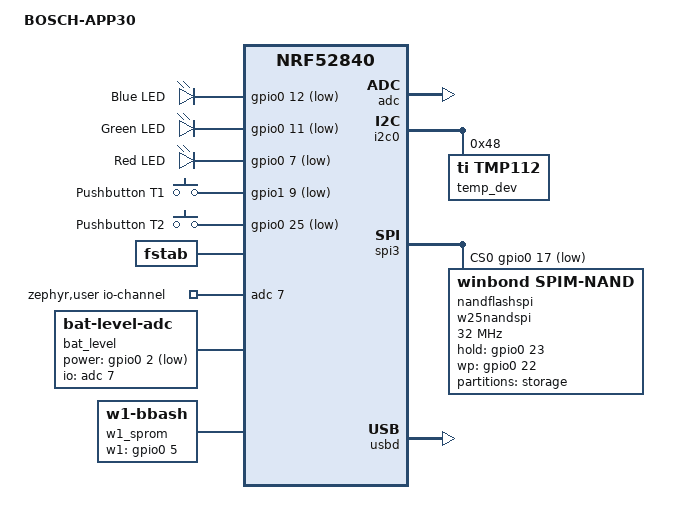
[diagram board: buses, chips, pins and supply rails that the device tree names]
/*
 * Copyright (c) 2023 Bosch Sensortec GmbH
 *
 * SPDX-License-Identifier: Apache-2.0
 *
 * Common Device Tree Definitions for Bosch Sensortec Application Board 3.0
 * This file contains the common definitions for APP30
 *
 *      NOTE ON REVISIONS
 *      =================
 * There are multiple alternative overlay DTS files for APP3.0 for different project configurations
 * Each alternative allocates the I2C and SPI modules for the shuttle board ports 
 * in a different way (in terms of pin allocation). Each overlay corresponds to a so-called
 * "revision number". The project should be built with the revision number that 
 * corresponds to its configuration. Note that "Revision" here actually means 
 * "alternative configuration" as per the terminology used in the Zephyr Build System
 *  
 * 
 * Rev No.		i2c1 					spi1 				spi2
 *  1		primary_i2c_port		disabled			primary_spi_port [DEFAULT]
 *  2		primary_i2c_port		disabled			aux_spi_port	
 *  3		aux_i2c_port			disabled			primary_spi_port	
 *  4		disabled				primary_spi_port	aux_spi_port
 *
 * Revision 1 is used by default if no revision is selected in the build. In this configuration
 * the primary port of the shuttle can be either i2c or spi. The application code can decide at runtime
 * which port is to be used (note that both cannot be used simultaneously, due to the design of the
 * sensors. This is compatible with applications written for V2.6 and older of COINES. The downside 
 * of this configuration is that the so-called "auxiliary ports" are not available (i.e. the OIS interface
 * or external temp sensor on some shuttle boards.)
 * Configurations 2, 3 and 4 are useful if access to the auxiliary ports is required. These are accessed by
 * using the COINES_SPI_BUS_1 and COINES_I2C_BUS_1 as first argument to the COINES i2c and spi API. using 
 * these arguments results in a runtime error in the default configuration, or in a configuration where one
 * or the other is not supported.
 * 
 */

/dts-v1/;
#include <nordic/nrf52840_qiaa.dtsi>
#include "bosch_app30-pinctrl.dtsi"

/ {
	model = "BOSCH-APP30";
	compatible = "nordic,bosch-app30";

	chosen {
		zephyr,console = &uart_dev;
		zephyr,shell-uart = &uart_dev;
		zephyr,bt-c2h-uart = &uart_dev;
		zephyr,sram = &sram0;
		zephyr,flash = &flash0;
		zephyr,code-partition = &slot0_partition;
	};

	led_rgb: leds {
		compatible = "gpio-leds";
		label = "leds";
		status = "okay";
		led_blue: led0: led_0 {
			gpios = <&gpio0 12 GPIO_ACTIVE_LOW>;
			label = "Blue LED";
		};
		led_green: led1: led_1 {
			gpios = <&gpio0 11 GPIO_ACTIVE_LOW>;
			label = "Green LED";
		};
		led_red: led2: led_2 {
			gpios = <&gpio0 7 GPIO_ACTIVE_LOW>;
			label = "Red LED";
		};
	};
	
	buttons {
		compatible = "gpio-keys";
		button_t1: button0: button_0 {
			gpios = <&gpio1 9 (GPIO_PULL_UP | GPIO_ACTIVE_LOW)>;
			label = "Pushbutton T1";
		};
		button_t2: button1: button_1 {
			gpios = <&gpio0 25 (GPIO_PULL_UP | GPIO_ACTIVE_LOW)>;
			label = "Pushbutton T2";
		};
	};
	/* These aliases are provided for compatibility with samples */
	aliases {
		led0 = &led0;
		led1 = &led1;
		led2 = &led2;
		sw0 = &button0;
		sw1 = &button1;
	};
	
	/*littlefs and FlogFS partitions on external spi flash*/
	fstab {
		compatible = "zephyr,fstab";
		lfs1: lfs1 {
			compatible = "zephyr,fstab,littlefs";
			mount-point = "/lfs1";
			partition = <&lfs1_part>;
			automount;
			
			read-size = <64>;
			prog-size = <64>;
			cache-size = <256>;
			lookahead-size = <128>;
			block-cycles = <512>; 
			
		};
		flog0: flog0 {
			compatible = "zephyr,fstab,flogfs";
			mount-point = "/flog0";
			partition = <&flog0_part>;
			automount;
			sector_size = <512>;
			sectors_per_page = <4>;
			pages_per_block = <64>;
			num_blocks = <2008>;
			pre_allocate_size = <10>;
			inode0_max_block = <32>;
		};
	};
	zephyr,user {
		/* adjust channel number according to pinmux in board.dts */
		io-channels = <&adc 7>;
	};
	/*settings for Battery measurement analog input and voltage divider*/
	bat_level: vbatt {
            compatible = "bat-level-adc"; //"voltage-divider";
			//label = "vbatt";
            io-channels = <&adc 7>;						/*BATT MEAS is connected to AIN7 (P0.31)*/
            output-ohms = <180000>;
            full-ohms = <(300000 + 180000)>;			/*R1=300kohm R2=180kohm in APP3.0*/
            power-gpios = <&gpio0 2 GPIO_ACTIVE_LOW>; 	/*VBAT-MON-EN is P0.02, Active Low*/

			bat-max-mv = <4200>;						/*max voltage (charging voltage) of battery in mv*/
		    bat-min-mv = <3000>; 						/*min voltage (cutoff voltage) of battery in mv*/
			work-interval-ms = <2000>;					/*how often the battery level is sampled in ms*/
		  	/*delta mv corresponding to two successive entries in below mv-soc look-up-table. It should
			be computed like this:
			(uint32_t)(((bat_max_mv - bat_min_mv) / (sizeof(bat_mv_soc_lut)))+0.5);*/
		  	lut-delta = <11>;

			/*mv-soc look-up-table for battery. First entry is the soc corresponding to bat min voltage 
			defined above and the final entry is the soc corresponding to bat max voltage. The delta 
			mv between successive entries is defined above*/
		  	bat-mv-soc-lut = <
				0  0  1  1  1  1  1  1  1  1  1  1  1  1  1  1  1  1  1  2
				2  2  2  2  2  2  2  2  3  3  3  3  3  3  3  4  4  4  4  4
				4  5  5  5  6  6  7  7  8  8  9  9 10 11 12 13 13 14 15 16
				18 19 22 25 28 32 36 40 44 47 51 53 56 58 60 62 64 66 67 69
				71 72 74 76 77 79 81 82 84 85 85 86 86 86 87 88 88 89 90 91
				91 92 93 94 95 96 97 98 99 100 100
			>;
    };
	
	/*Shuttle Board Control Pins*/
	shuttle_board {
		compatible = "bosch,shuttle-board";
		shuttle_vdd_sel: shuttle_vdd_sel {
			gpios = <&gpio0 27 GPIO_ACTIVE_HIGH>;
			label = "Shuttle VDD Select";
		};
		shuttle_vdd_en: shuttle_vdd_en {
			gpios = <&gpio0 3 GPIO_ACTIVE_HIGH>;
			label = "Shuttle VDD Enable";
		};
		shuttle_vddio_en: shuttle_vddio_en {
			gpios = <&gpio0 28 GPIO_ACTIVE_HIGH>;
			label = "Shuttle VDDIO Enable";
		};
		shuttle_gpio0: shuttle_pin_1_4: shuttle_gpio0 {
			gpios = <&gpio0 14 GPIO_ACTIVE_HIGH>;
			label = "Shuttle GPIO0";
		};
		shuttle_gpio1: shuttle_pin_1_5: shuttle_gpio1 {
			gpios = <&gpio1 13 GPIO_ACTIVE_HIGH>;
			label = "Shuttle GPIO1";
		};
		shuttle_gpio2_int1: shuttle_pin_1_6: shuttle_gpio2_int1 {
			gpios = <&gpio1 1 GPIO_ACTIVE_HIGH>;
			label = "Shuttle GPIO2/INT1";
		};
		shuttle_gpio3_int2: shuttle_pin_1_7: shuttle_gpio3_int2 {
			gpios = <&gpio1 8 GPIO_ACTIVE_HIGH>;
			label = "Shuttle GPIO3/INT2";
		};
		shuttle_cs: shuttle_pin_2_1: shuttle_cs {
			gpios = <&gpio0 24 GPIO_ACTIVE_HIGH>;
			label = "Shuttle Chip Select";
		};
		shuttle_sck_scl: shuttle_pin_2_2: shuttle_sck_scl {
			gpios = <&gpio0 16 GPIO_ACTIVE_HIGH>;
			label = "Shuttle SCK/SCL";
		};
		shuttle_sdo: shuttle_pin_2_3: shuttle_sdo {
			gpios = <&gpio0 15 GPIO_ACTIVE_HIGH>;
			label = "Shuttle SDO";
		};
		shuttle_sdi_sda: shuttle_pin_2_4: shuttle_sdi_sda {
			gpios = <&gpio0 6 GPIO_ACTIVE_HIGH>;
			label = "Shuttle SDI/SDA";
		};
		shuttle_gpio4_ocsb: shuttle_pin_2_5: shuttle_gpio4_ocsb {
			gpios = <&gpio1 3 GPIO_ACTIVE_HIGH>;
			label = "Shuttle GPIO4/OCSB";
		};
		shuttle_gpio5_ascx: shuttle_pin_2_6: shuttle_gpio5_ascx {
			gpios = <&gpio1 2 GPIO_ACTIVE_HIGH>;
			label = "Shuttle GPIO5/ASCx";
		};
		shuttle_gpio6_osdo: shuttle_pin_2_7: shuttle_gpio6_osdo {
			gpios = <&gpio1 11 GPIO_ACTIVE_HIGH>;
			label = "Shuttle GPIO6/OSDO";
		};
		shuttle_gpio7_asdx: shuttle_pin_2_8: shuttle_gpio7_asdx {
			gpios = <&gpio1 10 GPIO_ACTIVE_HIGH>;
			label = "Shuttle GPIO7/ASDx";
		};
		shuttle_prom_rw: shuttle_pin_2_9: shuttle_prom_rw {
			gpios = <&gpio0 5 GPIO_ACTIVE_HIGH>;
			label = "Shuttle PROM RW";
		};
	};

	/*1-wire eeprom on shuttle board connected to P0.5 */
	w1_sprom: w1{
		compatible = "w1-bbash";
		status = "okay";
		w1-gpios   = <&gpio0 5 GPIO_ACTIVE_HIGH>;
		nrf_timer_num = <1>;
		sprom: shuttle_prom {
			compatible = "maxim,ds28e05";
			status = "okay";
		};
	};
};

&gpiote {
	status = "okay";
};

&gpio0 {
	//label = "GPIO_0";
	status = "okay";
};

&gpio1 {
	//label = "GPIO_1";
	status = "okay";
};

&adc {
	status = "okay";
};

/*i2c0 is always used for the onboard temp sensor TM112, PMIC and external sensors*/
&i2c0 {
	compatible = "nordic,nrf-twi";
	status = "okay";
	//label = "I2C_0";
	//sda-pin = <29>;
	//scl-pin = <26>;
	pinctrl-0 = <&i2c0_default>;
	pinctrl-1 = <&i2c0_sleep>;
	pinctrl-names = "default", "sleep";
	temp_dev: tmp112@48 {
		compatible = "ti,tmp112";
		/* For Temperature I2C of Application Board 3.0. 
		It has the I2C slave device address of 0x48 */
		reg = <0x48>;
		status = "okay";
		//label = "TMP112";
	};
};


/* For External Flash SPI of Application Board 3.0 
SPI3 is being used as it is the only SPI module compatible 
with 32Mhz operation. This is also possible only in SPIM mode
(SPI with EasyDMA)*/
&spi3 {
	compatible = "nordic,nrf-spim";
	status = "okay";
	//label = "SPI_3";
	//sck-pin  = <19>;
	//mosi-pin = <20>;
	//miso-pin = <21>;
	pinctrl-0 = <&spi3_default>;
	pinctrl-1 = <&spi3_sleep>;
	pinctrl-names = "default", "sleep";
	cs-gpios   = <&gpio0 17 GPIO_ACTIVE_LOW>;
	/*External Flash*/
	/*Valid for Winbond NAND SPI devices W25M02GW,W25N01GW and W25N02JW*/
	nandflashspi:w25nandspi@0 {
		compatible = "winbond,spim-nand";
		spi-max-frequency = <32000000>; /*32 Mhz (previously 8)*/
		reg = <0>;
		//label = "W25NANDSPI";
		hold-gpios = <&gpio0 23 GPIO_ACTIVE_HIGH>;
		wp-gpios   = <&gpio0 22 GPIO_ACTIVE_HIGH>;
		status = "okay";
		partitions {
			compatible = "fixed-partitions";
			#address-cells = <1>;
			#size-cells = <1>;
			/*Both FlogFS and LittleFS use the same partition (viz the full external flash).
			 Only one should be activated in prj.conf. 
			 If both are to be used simultaneously, two partitions should be defined below*/
			flog0_part: lfs1_part: partition@0 {
				label = "storage";
				reg = <0x00000000 0x0FB00000>; /*512*4*64*2008=263192576 = 0xFB00000*/
			};
		};
	};	
};

&flash0 {

	partitions {
		compatible = "fixed-partitions";
		#address-cells = <1>;
		#size-cells = <1>;
		/*
		 * The following partitions are pre-flashed on Application Board 3.0
		 * 0x000000000 (160kB) : Nordic Semiconductor Soft Device S140 with Bluetooth Stack
		 * 0x000028000 (32kB)  : USB MTP Firmware
		 * 0x000030000 (768kB) : Application
		 * 0x0000f0000 (64kB)  : USB DFU Bootloader
		 * The range from 0x00030000 to 0x0000f0000 is avaiable for the application
		 * This is divided into slot0 (360kB), slot1 (360kB) and scratch (64kB) to enable firmware 
		 * upgrade feature. If this is not required, a single slot0 of 768kb can be defined
		 * Code RAM 0x00800000 (256kB)
		 * Above pre-flashed sectors are not used by ZCOINES. Slot0 can be started from 0x0000 
		 * if compatability with old COINES is not required 
		 */
/*		sd_partition: partition@0 {
			label = "nssd-s140";
			reg = <0x000000000 0x00028000>;
		};
		mtp_partition: partition@28000 {
			label = "usb-mtp";
			reg = <0x000028000 0x00008000>;
		};	
		slot0_partition: partition@30000 {
			label = "image-0";
			reg = <0x00030000 0x00058000>;
		};
		slot1_partition: partition@88000 {
			label = "image-1";
			reg = <0x00088000 0x00058000>;
		};
		scratch_partition: partition@e0000 {
			label = "image-scratch";
			reg = <0x000e0000 0x00010000>;
		};*/
		slot0_partition: partition@30000 {
			label = "image-0";
			reg = <0x00030000 0x000C0000>;
		};
		boot_partition: partition@f0000 {
			label = "mcuboot";
			reg = <0x000f0000 0x00010000>;
		};
	};
};

zephyr_udc0: &usbd {
	compatible = "nordic,nrf-usbd";
	status = "okay";
	
	uart_dev: cdc_acm_uart {
		compatible = "zephyr,cdc-acm-uart";
		//label = "CDC_ACM_0";
	};
};
